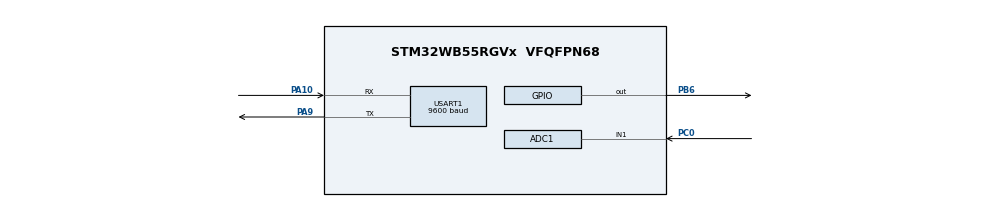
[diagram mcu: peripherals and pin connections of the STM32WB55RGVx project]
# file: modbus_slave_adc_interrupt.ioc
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ADC1.Channel-0\#ChannelRegularConversion=ADC_CHANNEL_1
ADC1.NbrOfConversionFlag=1
ADC1.OffsetNumber-0\#ChannelRegularConversion=ADC_OFFSET_NONE
ADC1.Rank-0\#ChannelRegularConversion=1
ADC1.SamplingTime-0\#ChannelRegularConversion=ADC_SAMPLETIME_2CYCLES_5
ADC1.master=1
Mcu.Family=STM32WB
Mcu.Name=STM32WB55RGVx
Mcu.Package=VFQFPN68
NVIC.ADC1_IRQn=true\:0\:0\:false\:false\:true\:true\:true\:true
NVIC.PriorityGroup=NVIC_PRIORITYGROUP_4
NVIC.TIM2_IRQn=true\:0\:0\:false\:false\:true\:true\:true\:true
NVIC.USART1_IRQn=true\:0\:0\:false\:false\:true\:true\:true\:true
PA10.Mode=Asynchronous
PA10.Signal=USART1_RX
PA9.Mode=Asynchronous
PA9.Signal=USART1_TX
PB6.Signal=GPIO_Output
PC0.Signal=ADCx_IN1
ProjectManager.HeapSize=0x200
ProjectManager.StackSize=0x400
ProjectManager.TargetToolchain=STM32CubeIDE
RCC.ADCFreq_Value=48000000
RCC.APB3Freq_Value=16000000
RCC.HSE_VALUE=8000000
RCC.HSI48_VALUE=48000000
RCC.HSI_VALUE=16000000
RCC.LSE_VALUE=32768
RCC.PLLSAI1N=24
RCC.USBFreq_Value=48000000
RCC.VCOOutputFreq_Value=32000000
SH.ADCx_IN1.0=ADC1_IN1,IN1-Single-Ended
TIM2.Period=9999
TIM2.Prescaler=399
USART1.BaudRate=9600
USART1.VirtualMode-Asynchronous=VM_ASYNC
VP_MEMORYMAP_VS_MEMORYMAP.Mode=CurAppReg
VP_TIM2_VS_ClockSourceINT.Mode=Internal
board=custom

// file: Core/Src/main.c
/* USER CODE BEGIN Header */
/**
  ******************************************************************************
  * @file           : main.c
  * @brief          : Main program body
  ******************************************************************************
  * @attention
  *
  * Copyright (c) 2025 STMicroelectronics.
  * All rights reserved.
  *
  * This software is licensed under terms that can be found in the LICENSE file
  * in the root directory of this software component.
  * If no LICENSE file comes with this software, it is provided AS-IS.
  *
  ******************************************************************************
  */
/* USER CODE END Header */
#include "main.h"
#include "modbus.h"

ADC_HandleTypeDef hadc1;

TIM_HandleTypeDef htim2;

UART_HandleTypeDef huart1;

/* USER CODE BEGIN PV */
volatile uint8_t rx_buffer[1];
extern MODBUS_SLAVE_DATA   gModbusSlaveData;
volatile uint16_t ADC_VAL;
volatile uint16_t ADC_ORG;
volatile uint8_t count = 0;
/* USER CODE END PV */

void SystemClock_Config(void);
void PeriphCommonClock_Config(void);
static void MX_GPIO_Init(void);
static void MX_USART1_UART_Init(void);
static void MX_ADC1_Init(void);
static void MX_TIM2_Init(void);

/* USER CODE BEGIN 0 */

/* USER CODE BEGIN 0 */
void HAL_UART_RxCpltCallback(UART_HandleTypeDef *huart)
{
    // 1. First, check which UART triggered the interrupt
	if(huart->Instance == huart1.Instance) // using UART1 for RS485
    {
        // 2. Store the received byte in the Modbus frame buffer
        gModbusSlaveData.modbusFrame[gModbusSlaveData.rxPointer++] = rx_buffer[0];

        // 3. when we've received enough bytes to determine message length
        if(gModbusSlaveData.rxPointer == 7)  // After receiving 7 bytes, we know how long the message will be
        {
            // Check function code and calculate the expected frame length
            switch(gModbusSlaveData.modbusFrame[MBUS_FUNCTION_PTR])  // Function code is at index 1
            {
                case writeMultipleHoldingRegister:  // Function code 16 (0x10)
                    // For this function, byte 6 contains the byte count of data to follow
                    // Add that byte count + 1 to determine total message length
                    gModbusSlaveData.totalRxValue = 7 + gModbusSlaveData.modbusFrame[6] + 2;  // +2 for CRC
                    break;

                case readHoldingRegister:          // Function code 3 (0x03)
                case writeSingleHoldingRegister:   // Function code 6 (0x06)
                    // These function codes have fixed length messages (8 bytes total)
                    gModbusSlaveData.totalRxValue = 8;
                    break;

                default:
                    // Unknown function code - reset buffer and pointer
                    for(uint8_t Index = 0; Index <= gModbusSlaveData.rxPointer; Index++)
                    {
                        gModbusSlaveData.modbusFrame[Index] = 0;
                    }
                    gModbusSlaveData.rxPointer = 0;
                    break;
            }
        }

        // 4. When we've received the complete message, process it
        if(gModbusSlaveData.rxPointer == gModbusSlaveData.totalRxValue && gModbusSlaveData.totalRxValue > 0)
        {
            // Process valid function codes
            if(gModbusSlaveData.modbusFrame[MBUS_FUNCTION_PTR] == readHoldingRegister ||
               gModbusSlaveData.modbusFrame[MBUS_FUNCTION_PTR] == writeSingleHoldingRegister ||
               gModbusSlaveData.modbusFrame[MBUS_FUNCTION_PTR] == writeMultipleHoldingRegister)
            {
                // Process the received message
                ModbusSlaveProcessReceivedQuery();

                // Set RS485 to transmit mode
                HAL_GPIO_WritePin(RS485_EN_PORT, RS485_EN_PIN, GPIO_PIN_SET);

                // Transmit the response
                HAL_UART_Transmit_IT(&huart1, (uint8_t*)gModbusSlaveData.modbusFrame, gModbusSlaveData.totalTxValue);
            }

            // Reset the receive pointer for the next message
            gModbusSlaveData.rxPointer = 0;
        }

        // 5. Re-enable reception for the next byte
        HAL_UART_Receive_IT(&huart1, (uint8_t*)rx_buffer, 1);
    }
}

void HAL_TIM_PeriodElapsedCallback(TIM_HandleTypeDef *htim)
{

	 if (htim->Instance == TIM2)
	    {
	        // Start ADC conversion every 1 second
	        HAL_ADC_Start_IT(&hadc1);

	    }
}

void HAL_ADC_ConvCpltCallback(ADC_HandleTypeDef* hadc)
{
    if (hadc->Instance == ADC1)
    {
		ADC_VAL = HAL_ADC_GetValue(hadc);
		// Store high byte (bits 8-11) in register 0
		gModbusSlaveData.modbusHoldingRegister[0] = (uint8_t) ((ADC_VAL >> 8)& 0xFF);

		// Store low byte (bits 0-7) in register 1
		gModbusSlaveData.modbusHoldingRegister[1] = (uint8_t) (ADC_VAL & 0xFF);

		ADC_ORG = ((uint16_t) gModbusSlaveData.modbusHoldingRegister[0] << 8)| gModbusSlaveData.modbusHoldingRegister[1];
		count++;
    }
}

/* USER CODE END 0 */

int main(void)
{

  /* MCU Configuration--------------------------------------------------------*/

  /* Reset of all peripherals, Initializes the Flash interface and the Systick. */
  HAL_Init();

  /* Configure the system clock */
  SystemClock_Config();

  /* Configure the peripherals common clocks */
  PeriphCommonClock_Config();

  /* Initialize all configured peripherals */
  MX_GPIO_Init();
  MX_USART1_UART_Init();
  MX_ADC1_Init();
  MX_TIM2_Init();
  ModbusSlaveInit();
  HAL_TIM_Base_Start_IT(&htim2);
  HAL_ADC_Start_IT(&hadc1);
  HAL_ADCEx_Calibration_Start(&hadc1, ADC_SINGLE_ENDED);
  HAL_UART_Receive_IT(&huart1, (uint8_t*)rx_buffer, 1);
  /* Infinite loop */
  while (1)
  {

  }
}

void ModbusSlaveInit(void)
{
    // Initialize Modbus slave data structure
    gModbusSlaveData.address = SLAVE_ID;  // Set device address
    gModbusSlaveData.rxPointer = 0;       // Reset receive pointer
    gModbusSlaveData.totalTxValue = 0;    // Reset transmit counter
    gModbusSlaveData.totalRxValue = 0;    // Reset receive counter
    gModbusSlaveData.flags.all = 0;       // Clear all flags

    // Initialize holding registers with default values if needed
    for(uint16_t i = 0; i < (MBUS_FRAME_BUFFER_SIZE>>1); i++)
    {
        gModbusSlaveData.modbusHoldingRegister[i] = 0;
    }

    // Initialize the frame buffer
    for(uint16_t i = 0; i < MBUS_FRAME_BUFFER_SIZE+5; i++)
    {
        gModbusSlaveData.modbusFrame[i] = 0;
    }
}
void SystemClock_Config(void)
{
  RCC_OscInitTypeDef RCC_OscInitStruct = {0};
  RCC_ClkInitTypeDef RCC_ClkInitStruct = {0};

  /** Macro to configure the PLL multiplication factor
  */
  __HAL_RCC_PLL_PLLM_CONFIG(RCC_PLLM_DIV1);

  /** Macro to configure the PLL clock source
  */
  __HAL_RCC_PLL_PLLSOURCE_CONFIG(RCC_PLLSOURCE_MSI);

  /** Configure the main internal regulator output voltage
  */
  __HAL_PWR_VOLTAGESCALING_CONFIG(PWR_REGULATOR_VOLTAGE_SCALE1);

  /** Initializes the RCC Oscillators according to the specified parameters
  * in the RCC_OscInitTypeDef structure.
  */
  RCC_OscInitStruct.OscillatorType = RCC_OSCILLATORTYPE_HSI|RCC_OSCILLATORTYPE_MSI;
  RCC_OscInitStruct.HSIState = RCC_HSI_ON;
  RCC_OscInitStruct.MSIState = RCC_MSI_ON;
  RCC_OscInitStruct.HSICalibrationValue = RCC_HSICALIBRATION_DEFAULT;
  RCC_OscInitStruct.MSICalibrationValue = RCC_MSICALIBRATION_DEFAULT;
  RCC_OscInitStruct.MSIClockRange = RCC_MSIRANGE_6;
  RCC_OscInitStruct.PLL.PLLState = RCC_PLL_NONE;
  if (HAL_RCC_OscConfig(&RCC_OscInitStruct) != HAL_OK)
  {
    Error_Handler();
  }

  /** Configure the SYSCLKSource, HCLK, PCLK1 and PCLK2 clocks dividers
  */
  RCC_ClkInitStruct.ClockType = RCC_CLOCKTYPE_HCLK4|RCC_CLOCKTYPE_HCLK2
                              |RCC_CLOCKTYPE_HCLK|RCC_CLOCKTYPE_SYSCLK
                              |RCC_CLOCKTYPE_PCLK1|RCC_CLOCKTYPE_PCLK2;
  RCC_ClkInitStruct.SYSCLKSource = RCC_SYSCLKSOURCE_MSI;
  RCC_ClkInitStruct.AHBCLKDivider = RCC_SYSCLK_DIV1;
  RCC_ClkInitStruct.APB1CLKDivider = RCC_HCLK_DIV1;
  RCC_ClkInitStruct.APB2CLKDivider = RCC_HCLK_DIV1;
  RCC_ClkInitStruct.AHBCLK2Divider = RCC_SYSCLK_DIV1;
  RCC_ClkInitStruct.AHBCLK4Divider = RCC_SYSCLK_DIV1;

  if (HAL_RCC_ClockConfig(&RCC_ClkInitStruct, FLASH_LATENCY_0) != HAL_OK)
  {
    Error_Handler();
  }
}

void PeriphCommonClock_Config(void)
{
  RCC_PeriphCLKInitTypeDef PeriphClkInitStruct = {0};

  /** Initializes the peripherals clock
  */
  PeriphClkInitStruct.PeriphClockSelection = RCC_PERIPHCLK_SMPS;
  PeriphClkInitStruct.SmpsClockSelection = RCC_SMPSCLKSOURCE_HSI;
  PeriphClkInitStruct.SmpsDivSelection = RCC_SMPSCLKDIV_RANGE1;

  if (HAL_RCCEx_PeriphCLKConfig(&PeriphClkInitStruct) != HAL_OK)
  {
    Error_Handler();
  }
}

static void MX_ADC1_Init(void)
{

  ADC_ChannelConfTypeDef sConfig = {0};

  /** Common config
  */
  hadc1.Instance = ADC1;
  hadc1.Init.ClockPrescaler = ADC_CLOCK_ASYNC_DIV1;
  hadc1.Init.Resolution = ADC_RESOLUTION_12B;
  hadc1.Init.DataAlign = ADC_DATAALIGN_RIGHT;
  hadc1.Init.ScanConvMode = ADC_SCAN_DISABLE;
  hadc1.Init.EOCSelection = ADC_EOC_SINGLE_CONV;
  hadc1.Init.LowPowerAutoWait = DISABLE;
  hadc1.Init.ContinuousConvMode = DISABLE;
  hadc1.Init.NbrOfConversion = 1;
  hadc1.Init.DiscontinuousConvMode = DISABLE;
  hadc1.Init.ExternalTrigConv = ADC_SOFTWARE_START;
  hadc1.Init.ExternalTrigConvEdge = ADC_EXTERNALTRIGCONVEDGE_NONE;
  hadc1.Init.DMAContinuousRequests = DISABLE;
  hadc1.Init.Overrun = ADC_OVR_DATA_PRESERVED;
  hadc1.Init.OversamplingMode = DISABLE;
  if (HAL_ADC_Init(&hadc1) != HAL_OK)
  {
    Error_Handler();
  }

  /** Configure Regular Channel
  */
  sConfig.Channel = ADC_CHANNEL_1;
  sConfig.Rank = ADC_REGULAR_RANK_1;
  sConfig.SamplingTime = ADC_SAMPLETIME_2CYCLES_5;
  sConfig.SingleDiff = ADC_SINGLE_ENDED;
  sConfig.OffsetNumber = ADC_OFFSET_NONE;
  sConfig.Offset = 0;
  if (HAL_ADC_ConfigChannel(&hadc1, &sConfig) != HAL_OK)
  {
    Error_Handler();
  }

}

static void MX_TIM2_Init(void)
{

  TIM_ClockConfigTypeDef sClockSourceConfig = {0};
  TIM_MasterConfigTypeDef sMasterConfig = {0};

  htim2.Instance = TIM2;
  htim2.Init.Prescaler = 399;
  htim2.Init.CounterMode = TIM_COUNTERMODE_UP;
  htim2.Init.Period = 9999;
  htim2.Init.ClockDivision = TIM_CLOCKDIVISION_DIV1;
  htim2.Init.AutoReloadPreload = TIM_AUTORELOAD_PRELOAD_DISABLE;
  if (HAL_TIM_Base_Init(&htim2) != HAL_OK)
  {
    Error_Handler();
  }
  sClockSourceConfig.ClockSource = TIM_CLOCKSOURCE_INTERNAL;
  if (HAL_TIM_ConfigClockSource(&htim2, &sClockSourceConfig) != HAL_OK)
  {
    Error_Handler();
  }
  sMasterConfig.MasterOutputTrigger = TIM_TRGO_RESET;
  sMasterConfig.MasterSlaveMode = TIM_MASTERSLAVEMODE_DISABLE;
  if (HAL_TIMEx_MasterConfigSynchronization(&htim2, &sMasterConfig) != HAL_OK)
  {
    Error_Handler();
  }

}

static void MX_USART1_UART_Init(void)
{

  huart1.Instance = USART1;
  huart1.Init.BaudRate = 9600;
  huart1.Init.WordLength = UART_WORDLENGTH_8B;
  huart1.Init.StopBits = UART_STOPBITS_1;
  huart1.Init.Parity = UART_PARITY_NONE;
  huart1.Init.Mode = UART_MODE_TX_RX;
  huart1.Init.HwFlowCtl = UART_HWCONTROL_NONE;
  huart1.Init.OverSampling = UART_OVERSAMPLING_16;
  huart1.Init.OneBitSampling = UART_ONE_BIT_SAMPLE_DISABLE;
  huart1.Init.ClockPrescaler = UART_PRESCALER_DIV1;
  huart1.AdvancedInit.AdvFeatureInit = UART_ADVFEATURE_NO_INIT;
  if (HAL_UART_Init(&huart1) != HAL_OK)
  {
    Error_Handler();
  }
  if (HAL_UARTEx_SetTxFifoThreshold(&huart1, UART_TXFIFO_THRESHOLD_1_8) != HAL_OK)
  {
    Error_Handler();
  }
  if (HAL_UARTEx_SetRxFifoThreshold(&huart1, UART_RXFIFO_THRESHOLD_1_8) != HAL_OK)
  {
    Error_Handler();
  }
  if (HAL_UARTEx_DisableFifoMode(&huart1) != HAL_OK)
  {
    Error_Handler();
  }

}

static void MX_GPIO_Init(void)
{
  GPIO_InitTypeDef GPIO_InitStruct = {0};

  /* GPIO Ports Clock Enable */
  __HAL_RCC_GPIOC_CLK_ENABLE();
  __HAL_RCC_GPIOA_CLK_ENABLE();
  __HAL_RCC_GPIOB_CLK_ENABLE();

  /*Configure GPIO pin Output Level */
  HAL_GPIO_WritePin(GPIOB, GPIO_PIN_6, GPIO_PIN_RESET);

  /*Configure GPIO pin : PB6 */
  GPIO_InitStruct.Pin = GPIO_PIN_6;
  GPIO_InitStruct.Mode = GPIO_MODE_OUTPUT_PP;
  GPIO_InitStruct.Pull = GPIO_NOPULL;
  GPIO_InitStruct.Speed = GPIO_SPEED_FREQ_LOW;
  HAL_GPIO_Init(GPIOB, &GPIO_InitStruct);

}

void Error_Handler(void)
{
  __disable_irq();
  while (1)
  {
  }
}
